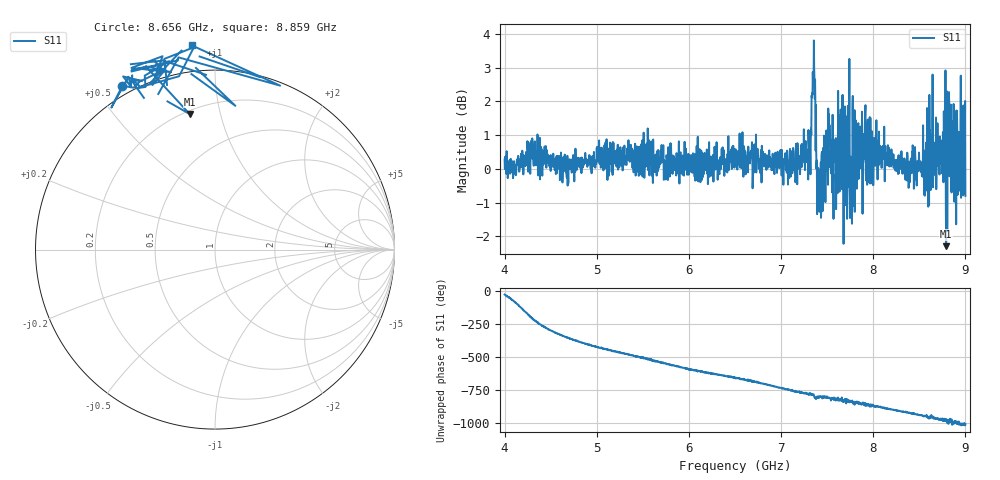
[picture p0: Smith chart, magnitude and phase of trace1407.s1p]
! Created with skrf 1.8.0 (http://scikit-rf.org).
# Hz S RI R 50.0
!freq ReS11 ImS11
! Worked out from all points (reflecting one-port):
!   1601 points, 4 GHz to 9 GHz, reference 50 ohm
!   lowest |S11| = -2.3 dB at 8.791 GHz (marker M1), VSWR 7.64, Z = 10.9 + j40.3 ohm
!   phase of S11 starts at -24 deg and turns -982 deg over the sweep
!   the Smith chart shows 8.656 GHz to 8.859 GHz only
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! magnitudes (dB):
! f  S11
! 4 GHz  0.3
! 4.103 GHz  0.2
! 4.309 GHz  0.5
! 4.625 GHz  -0.3
! 5.25 GHz  0.3
! 5.875 GHz  -0.1
! 6.5 GHz  0.6
! 7.125 GHz  0.3
! 7.294 GHz  -0.3
! 7.353 GHz  2.7
! 7.409 GHz  -1.1
! 7.512 GHz  1.8
! 7.588 GHz  0.2
! 7.672 GHz  2.2
! 7.703 GHz  -0.7
! 7.719 GHz  -0.8
! 7.75 GHz  -0.6
! 7.769 GHz  -1.6
! 7.8 GHz  -1.3
! 7.928 GHz  0.1
! 7.981 GHz  -0.4
! 8.053 GHz  0.5
! 8.375 GHz  0.1
! 8.791 GHz  -2.3
! 8.834 GHz  1.1
! 8.875 GHz  0.6
! 8.972 GHz  0.5
! 9 GHz  -0.8
